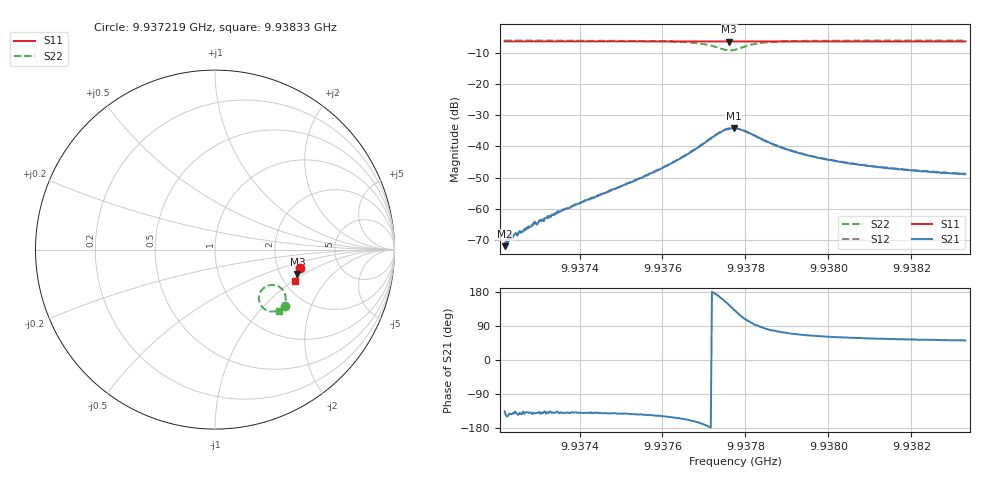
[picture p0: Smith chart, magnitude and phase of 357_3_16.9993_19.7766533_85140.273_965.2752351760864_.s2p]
#  HZ  S  RI  R  50.00
! Rohde & Schwarz Vector Network Analyzer
! Rohde-Schwarz,ZNB20-2Port,1311601062101988,3.16
! Created: UTC 3/20/2024, 11:08:05 PM
! freq[Hz]  re:S11  im:S11  re:S21  im:S21  re:S12  im:S12  re:S22  im:S22
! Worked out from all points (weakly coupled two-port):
!   401 points, 9.937219 GHz to 9.93833 GHz, reference 50 ohm
!   highest |S21| = -34.21 dB at 9.937772 GHz (marker M1); lowest = -72.0 dB at 9.937219 GHz (marker M2)
!   lowest |S11| = -6.4 dB at 9.937761 GHz (marker M3), VSWR 2.84, Z = 124 - j44.2 ohm
!   |S11| at or under -10 dB: nowhere
!   |S22| runs from -9.3 to -6.0 dB; largest |S21 - S12| = 0.00084
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9.9372194e9  0.4729 -0.1028  -0.00018 -0.000176  -0.000224 -0.000156  0.3891 -0.3115
9.9372333e9  0.4724 -0.1038  -0.000271 -0.000207  -0.000265 -0.000222  0.3882 -0.3123
9.93725e9  0.4722 -0.105  -0.000298 -0.000219  -0.00031 -0.000229  0.3871 -0.3135
9.9372639e9  0.472 -0.1058  -0.000308 -0.0003  -0.000359 -0.000278  0.3859 -0.3147
9.9372889e9  0.4715 -0.1075  -0.000446 -0.000385  -0.000436 -0.000344  0.3842 -0.3163
9.9373527e9  0.4702 -0.1117  -0.000691 -0.000587  -0.000706 -0.000588  0.3791 -0.3211
9.9374055e9  0.4689 -0.1154  -0.000967 -0.000838  -0.000978 -0.00083  0.3738 -0.325
9.9375333e9  0.4661 -0.1239  -0.00225 -0.00171  -0.00233 -0.00168  0.3563 -0.3364
9.9375916e9  0.4648 -0.1278  -0.00356 -0.00226  -0.00364 -0.00225  0.3425 -0.3419
9.9376499e9  0.4632 -0.1317  -0.00617 -0.00284  -0.00633 -0.00275  0.3185 -0.3453
9.9377027e9  0.4614 -0.1352  -0.0114 -0.00174  -0.0116 -0.00158  0.2766 -0.3317
9.9377388e9  0.4598 -0.137  -0.016 0.00421  -0.0164 0.00455  0.2456 -0.2803
9.937761e9  0.4591 -0.1376  -0.0156 0.011  -0.0156 0.0118  0.2595 -0.2269
9.9377721e9  0.4592 -0.1379  -0.0132 0.0143  -0.013 0.0148  0.2825 -0.2065
9.9377749e9  0.4593 -0.138  -0.0126 0.0147  -0.0124 0.0154  0.2891 -0.2031
9.9377943e9  0.4593 -0.139  -0.00661 0.0167  -0.00647 0.017  0.3358 -0.1987
9.9378332e9  0.4593 -0.1416  0.000276 0.0137  0.000791 0.0138  0.3848 -0.2354
9.9378915e9  0.4581 -0.1458  0.00287 0.00894  0.00303 0.00895  0.3939 -0.2779
9.9379609e9  0.4566 -0.1506  0.00301 0.00622  0.00312 0.00623  0.3882 -0.3024
9.9380498e9  0.4543 -0.1566  0.00279 0.00456  0.00287 0.00457  0.3792 -0.3188
9.938147e9  0.4517 -0.1628  0.00254 0.00365  0.00261 0.00368  0.3713 -0.33
9.9383303e9  0.4467 -0.1745  0.00222 0.0028  0.00232 0.00283  0.3582 -0.3446
